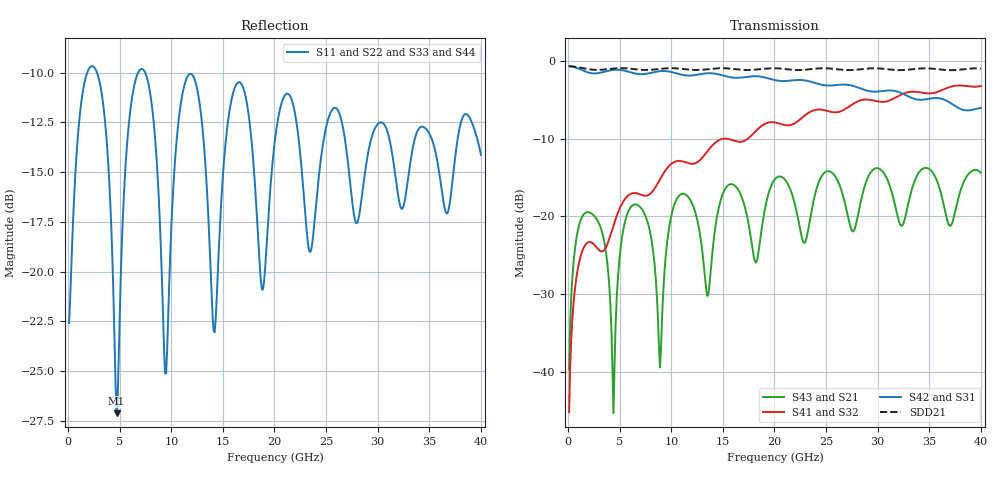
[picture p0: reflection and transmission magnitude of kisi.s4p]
! T_ts6_diff_ms: Edge-coupled microstrip pair L1, w 0.127 / s 0.127 mm (ThunderScope default), 20 mm
! stackup: ThunderScope Rev5.3 6-layer (FR408HR / FR-4, from the board file)
! ports: 1 near A, 2 near B, 3 far A, 4 far B
! kisi-fdtd, conformal, dfine 0.035 mm, 652064 cells
# Hz S RI R 50
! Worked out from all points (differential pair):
!   400 points, 100 MHz to 40 GHz, reference 50 ohm
!   strongest paths, dB at 100 MHz, 10.1 GHz, 20.1 GHz, 30.1 GHz, 40 GHz:
!     S42: -0.7, -1.4, -2.5, -3.9, -6.0
!     S31: -0.7, -1.4, -2.5, -3.9, -6.0
!     S41: -45.2, -13.1, -7.9, -5.2, -3.2
!     S32: -45.2, -13.1, -7.9, -5.2, -3.2
!     S43: -39.7, -19.4, -15.1, -13.8, -14.4
!     S21: -39.7, -19.4, -15.1, -13.8, -14.4
!   taken as a pair (ports 2,1 in; 4,3 out), SDD21 dB: -0.7, -0.9, -0.9, -0.9, -1.0
!   lowest |S11| = -27.1 dB at 4.7 GHz (marker M1), VSWR 1.09, Z = 54.6 - j0.139 ohm
!   |S11| at or under -10 dB: start of sweep to 1.862 GHz; 2.801 GHz to 6.79 GHz (3.989 GHz wide, 83.2 % of centre); 7.462 GHz to end of sweep
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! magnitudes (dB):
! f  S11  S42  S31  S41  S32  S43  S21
! 100 MHz  -22.6  -0.7  -0.7  -45.2  -45.2  -39.7  -39.7
! 1.5 GHz  -10.7  -1.2  -1.2  -24.1  -24.1  -19.8  -19.8
! 4.7 GHz  -27.1  -1.1  -1.1  -20.0  -20.0  -30.9  -30.9
! 7 GHz  -9.8  -1.7  -1.7  -17.2  -17.2  -18.8  -18.8
! 8.9 GHz  -17.6  -1.3  -1.3  -15.2  -15.2  -39.4  -39.4
! 10.9 GHz  -11.6  -1.7  -1.7  -12.9  -12.9  -17.2  -17.2
! 40 GHz  -14.1  -6.0  -6.0  -3.2  -3.2  -14.4  -14.4
